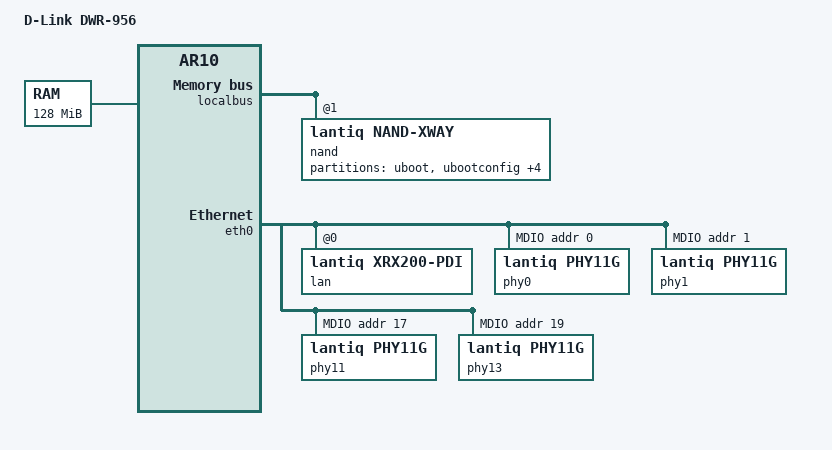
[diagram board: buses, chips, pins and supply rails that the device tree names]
/dts-v1/;

#include "ar10.dtsi"

#include <dt-bindings/input/input.h>
#include <dt-bindings/mips/lantiq_rcu_gphy.h>

/ {
	compatible = "dlink,dwr-956", "lantiq,xway", "lantiq,ar10";
	model = "D-Link DWR-956";

	chosen {
		bootargs = "console=ttyLTQ0,115200";
	};

	memory@0 {
		reg = <0x0 0x8000000>;
	};

};

&localbus {
	nand@1 {
		compatible = "lantiq,nand-xway";
		lantiq,cs = <1>;
		bank-width = <2>;
		reg = <1 0x0 0x2000000>;
		#address-cells = <1>;
		#size-cells = <1>;

		partitions {
			compatible = "fixed-partitions";
			#address-cells = <1>;
			#size-cells = <1>;

			partition@0 {
				label = "uboot";
				reg = <0x00000 0x40000>;
				read-only;
			};
			partition@40000 {
				label = "ubootconfig";
				reg = <0x40000 0x40000>;
				read-only;
			};
			partition@80000 {
				label = "gphyfirmware";
				read-only;
				reg = <0x80000 0x40000>;
			};
			partition@c0000 {
				label = "dataA";
				reg = <0xc0000 0x40000>;
				read-only;
			};
			partition@100000 {
				label = "ubi";
				reg = <0x100000 0x7800000>;
			};
			partition@7900000 {
				label = "res";
				reg = <0x7900000 0x100000>;
				read-only;
			};

		};
	};
};

&eth0 {
       lan: interface@0 {
               compatible = "lantiq,xrx200-pdi";
               #address-cells = <1>;
               #size-cells = <0>;
               reg = <0>;
               mac-address = [ 00 11 22 33 44 55 ];
               lantiq,switch;

               ethernet@0 {
                       compatible = "lantiq,xrx200-pdi-port";
                       reg = <0>;
                       phy-mode = "rgmii";
                       phy-handle = <&phy0>;
               };
               ethernet@1 {
                       compatible = "lantiq,xrx200-pdi-port";
                       reg = <1>;
                       phy-mode = "rgmii";
                       phy-handle = <&phy1>;
               };
               ethernet@2 {
                       compatible = "lantiq,xrx200-pdi-port";
                       reg = <2>;
                       phy-mode = "gmii";
                       phy-handle = <&phy11>;
               };
               ethernet@4 {
                       compatible = "lantiq,xrx200-pdi-port";
                       reg = <4>;
                       phy-mode = "gmii";
                       phy-handle = <&phy13>;
               };
       };

       mdio@0 {
               #address-cells = <1>;
               #size-cells = <0>;
               compatible = "lantiq,xrx200-mdio";
               reg = <0>;

               phy0: ethernet-phy@0 {
                       reg = <0x0>;
                       compatible = "lantiq,phy11g", "ethernet-phy-ieee802.3-c22";
               };
               phy1: ethernet-phy@1 {
                       reg = <0x1>;
                       compatible = "lantiq,phy11g", "ethernet-phy-ieee802.3-c22";
               };
               phy11: ethernet-phy@11 {
                       reg = <0x11>;
                       compatible = "lantiq,phy11g", "ethernet-phy-ieee802.3-c22";
               };
               phy13: ethernet-phy@13 {
                       reg = <0x13>;
                       compatible = "lantiq,phy11g", "ethernet-phy-ieee802.3-c22";
               };
       };
};

&gpio {
	pinctrl-names = "default";
	pinctrl-0 = <&state_default>;

	state_default: pinmux {
               mdio {
                       lantiq,groups = "mdio";
                       lantiq,function = "mdio";
               };

/* ref target/linux/ltqcpe/files-2.6.32/drivers/mtd/nand/ifxmips_mtd_nand.c ifx_gpio_*() setup */
		nand_out {
			lantiq,groups = "nand cle", "nand ale", "nand rd",
                                                "nand d1",
                                                "nand d0", "nand d2",
                                                "nand d7", "nand d6",
                                                "nand d5", "nand d4",
                                                "nand d3", "nand wr", "nand wp",  "nand se";
			lantiq,function = "ebu";
			lantiq,output = <1>;
			lantiq,open-drain = <0>;
			lantiq,pull = <0>;
		};
		nand {
		        lantiq,groups = "nand cs1", "nand rdy";
			lantiq,function = "ebu";
			lantiq,pull = <0>;
		};
	};
};

